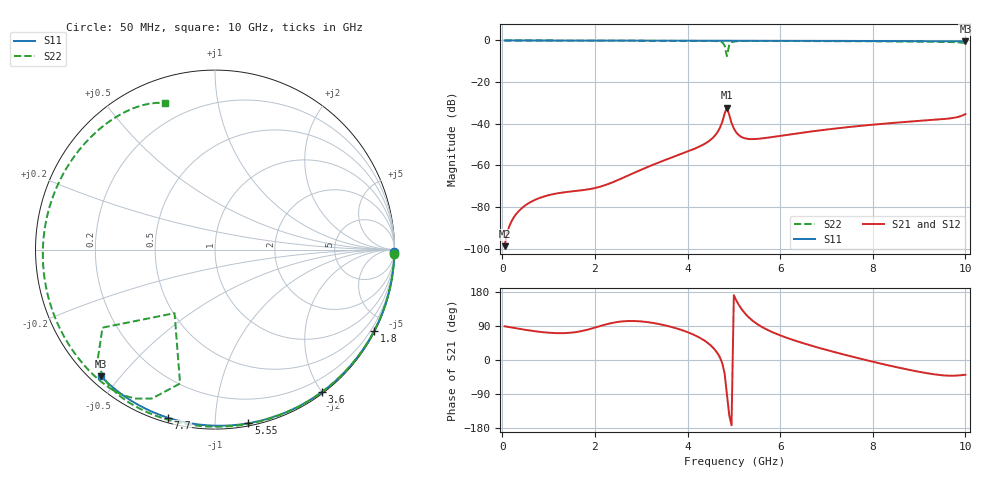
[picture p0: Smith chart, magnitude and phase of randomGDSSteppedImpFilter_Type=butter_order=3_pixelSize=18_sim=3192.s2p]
! freq	dB(S11)	phase(S11)	dB(S12)	phase(S12)
!  dB(S21)	phase(S21)	dB(S22)	phase(S22)
!S-par simulation data
#  GHz  S  DB  R 50
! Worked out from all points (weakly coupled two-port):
!   200 points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, 50 MHz to 10 GHz, reference 50 ohm
!   highest |S21| = -32.27 dB at 4.85 GHz (marker M1); lowest = -98.8 dB at 50 MHz (marker M2)
!   lowest |S11| = -0.4 dB at 10 GHz (marker M3), VSWR 38.75, Z = 1.54 - j22.2 ohm
!   |S11| at or under -10 dB: nowhere
!   |S22| runs from -7.5 to 0.0 dB; largest |S21 - S12| = 0
!   S11 on the Smith chart (normalised r, x): 50 MHz: open; 1.8 GHz: 0.04, -4.15; 3.6 GHz: 0.02, -2.01; 5.55 GHz: 0.02, -1.21; 7.7 GHz: 0.02, -0.76; 10 GHz: 0.03, -0.44
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0.05  -0.00 -0.8  -98.84 88.9  -98.84 88.9  -0.00 -1.5
0.45  -0.01 -6.9  -80.05 80.6  -80.05 80.6  -0.02 -13.0
0.95  -0.02 -14.4  -74.64 72.5  -74.64 72.5  -0.03 -27.3
1.75  -0.03 -26.4  -71.89 77.3  -71.89 77.3  -0.06 -49.5
1.8  -0.03 -27.1  -71.74 78.8  -71.74 78.8  -0.06 -50.8
2.3  -0.04 -34.4  -68.86 95.8  -68.86 95.8  -0.08 -64.2
3.4  -0.07 -50.2  -58.44 94.5  -58.44 94.5  -0.12 -92.2
3.6  -0.07 -53.0  -56.73 88.9  -56.73 88.9  -0.13 -97.1
4.45  -0.09 -64.6  -48.53 43.8  -48.53 43.8  -0.20 -119.4
4.65  -0.10 -67.3  -43.96 17.3  -43.96 17.3  -0.35 -127.6
4.75  -0.10 -68.7  -39.14 -8.5  -39.14 -8.5  -0.87 -136.4
4.8  -0.11 -69.4  -35.21 -35.1  -35.21 -35.1  -2.35 -145.3
4.85  -0.12 -70.0  -32.27 -91.3  -32.27 -91.3  -7.54 -122.5
4.9  -0.11 -70.6  -35.69 -145.5  -35.69 -145.5  -2.26 -104.6
5.05  -0.11 -72.6  -44.13 157.9  -44.13 157.9  -0.40 -121.4
5.25  -0.12 -75.2  -47.09 121.7  -47.09 121.7  -0.26 -129.3
5.55  -0.13 -79.1  -47.20 91.3  -47.20 91.3  -0.24 -137.5
6.7  -0.18 -93.6  -43.65 36.9  -43.65 36.9  -0.30 -163.5
7.7  -0.24 -105.6  -41.11 4.4  -41.11 4.4  -0.39 174.4
8.35  -0.29 -113.2  -39.78 -14.5  -39.78 -14.5  -0.46 159.5
9.4  -0.38 -125.3  -38.00 -39.0  -38.00 -39.0  -0.64 132.5
10  -0.45 -132.1  -35.36 -39.1  -35.36 -39.1  -1.29 108.7
